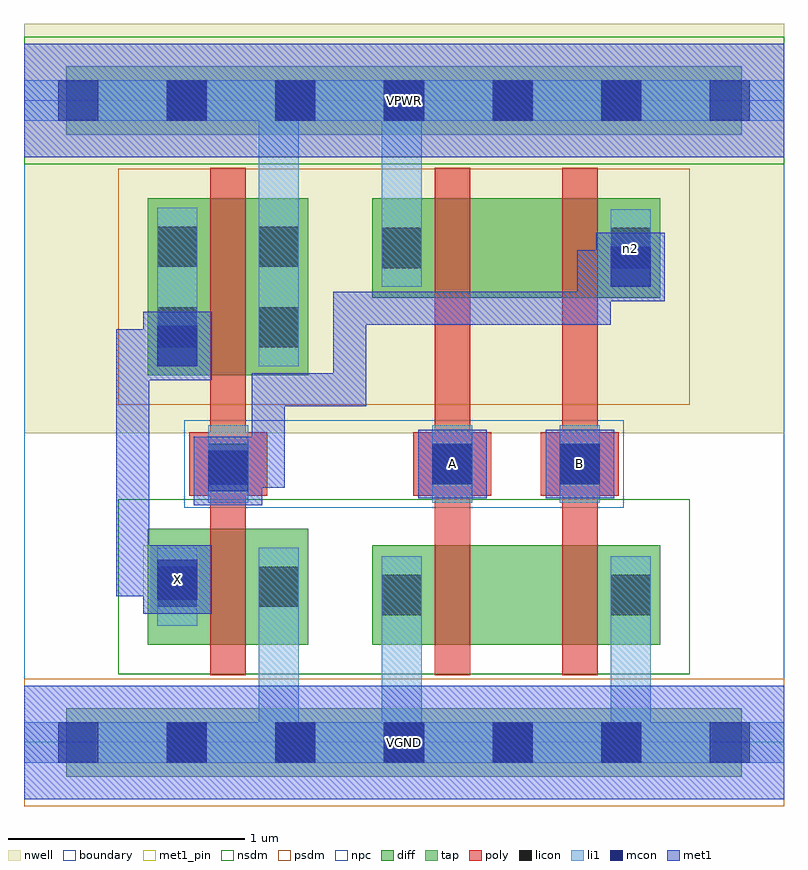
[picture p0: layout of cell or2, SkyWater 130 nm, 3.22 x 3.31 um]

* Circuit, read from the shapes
.subckt or2 A B VGND VPWR X n2
XM1 VGND n2 X VGND sky130_fd_pr__nfet_01v8 w=0.49 l=0.15
XM2 n1 A VGND VGND sky130_fd_pr__nfet_01v8 w=0.42 l=0.15
XM3 VGND B n1 VGND sky130_fd_pr__nfet_01v8 w=0.42 l=0.15
XM4 VPWR n2 X VPWR sky130_fd_pr__pfet_01v8 w=0.75 l=0.15
XM5 n3 A VPWR VPWR sky130_fd_pr__pfet_01v8 w=0.42 l=0.15
XM6 n2 B n3 VPWR sky130_fd_pr__pfet_01v8 w=0.42 l=0.15
.ends

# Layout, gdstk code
import gdstk
lib = gdstk.Library(unit=1e-6, precision=1e-09)
def R(c, l, rs):  # rectangles x0, y0, x1, y1
    for r in rs: c.add(gdstk.rectangle(r[:2], r[2:], *l))
def A(c, l, x, y, w, h, nx, ny, dx, dy):  # array of equal rectangles
    R(c, l, [(x+i*dx, y+j*dy, x+i*dx+w, y+j*dy+h) for i in range(nx) for j in range(ny)])
nwell = (64, 20)
diff = (65, 20)
tap = (65, 44)
poly = (66, 20)
licon = (66, 44)
li1 = (67, 20)
mcon = (67, 44)
met1_pin = (68, 16)
met1 = (68, 20)
nsdm = (93, 44)
psdm = (94, 20)
npc = (95, 20)
boundary = (235, 4)

or2 = lib.new_cell('or2')
R(or2, nwell, [(0,1.31,3.22,3.045)])
R(or2, diff, [(0.525,0.415,1.205,0.905), (1.475,0.415,2.695,0.835), (0.525,1.555,1.205,2.305), (1.475,1.885,2.695,2.305)])
R(or2, tap, [(0.18,-0.145,3.04,0.145), (0.18,2.575,3.04,2.865)])
R(or2, poly, [(0.79,0.285,0.94,2.435), (1.74,0.285,1.89,2.435), (2.28,0.285,2.43,2.435), (0.7,1.045,1.03,1.315), (1.65,1.045,1.98,1.315), (2.19,1.045,2.52,1.315)])
A(or2, licon, 0.605, -0.085, 0.17, 0.17, 5, 2, 0.46, 2.72)
R(or2, licon, [(1.515,0.54,1.685,0.71), (2.485,0.54,2.655,0.71), (0.565,0.575,0.735,0.745), (0.995,0.575,1.165,0.745), (0.78,1.095,0.95,1.265), (1.73,1.095,1.9,1.265), (2.27,1.095,2.44,1.265), (0.565,1.675,0.735,1.845), (0.995,1.675,1.165,1.845), (1.515,2.01,1.685,2.18), (2.485,2.01,2.655,2.18), (0.565,2.015,0.735,2.185), (0.995,2.015,1.165,2.185)])
R(or2, li1, [(0,-0.085,3.22,0.085), (0.995,-0.085,1.165,0.825), (1.515,-0.085,1.685,0.79), (2.485,-0.085,2.655,0.79), (1.515,0.46,1.685,0.79), (2.485,0.46,2.655,0.79), (0.565,0.495,0.735,0.825), (0.995,0.495,1.165,0.825), (0.78,1.015,0.95,1.345), (1.73,1.015,1.9,1.345), (2.27,1.015,2.44,1.345), (0.565,1.595,0.735,2.265), (0.995,1.595,1.165,2.265), (0.995,1.595,1.165,2.805), (1.515,1.93,1.685,2.26), (1.515,1.93,1.685,2.805), (2.485,1.93,2.655,2.26), (0,2.635,3.22,2.805)])
A(or2, mcon, 0.145, -0.085, 0.17, 0.17, 7, 2, 0.46, 2.72)
R(or2, mcon, [(0.565,0.605,0.735,0.775), (0.78,1.065,0.95,1.235), (1.73,1.095,1.9,1.265), (2.27,1.095,2.44,1.265), (0.565,1.595,0.735,1.765), (2.485,1.93,2.655,2.1)])
R(or2, met1_pin, [(0,-0.24,3.22,0.24), (0.505,0.545,0.795,0.835), (1.67,1.035,1.96,1.325), (2.21,1.035,2.5,1.325), (0,2.48,3.22,2.96)])
R(or2, met1, [(0,-0.24,3.22,0.24), (0.505,0.545,0.795,0.835), (0.39,0.62,0.72,0.76), (0.39,0.62,0.53,1.565), (0.72,1.005,1.01,1.295), (1.67,1.035,1.96,1.325), (2.21,1.035,2.5,1.325), (0.795,1.08,1.105,1.22), (0.965,1.08,1.105,1.565), (0.39,1.425,0.53,1.75), (0.965,1.425,1.45,1.565), (1.31,1.425,1.45,1.91), (0.505,1.535,0.795,1.825), (0.39,1.61,0.72,1.75), (1.31,1.77,2.485,1.91), (2.345,1.77,2.485,2.085), (2.425,1.87,2.715,2.16), (2.345,1.945,2.64,2.085), (0,2.48,3.22,2.96)])
R(or2, nsdm, [(0.4,0.29,2.82,1.03), (0,2.45,3.22,2.99)])
R(or2, psdm, [(0,-0.27,3.22,0.27), (0.4,1.43,2.82,2.43)])
R(or2, npc, [(0.68,0.995,2.54,1.365)])
R(or2, boundary, [(0,0,3.22,2.72)])
or2.add(gdstk.Label('n2', (2.57,2.095), layer=67, texttype=5))
or2.add(gdstk.Label('A', (1.815,1.18), layer=68, texttype=5))
or2.add(gdstk.Label('B', (2.355,1.18), layer=68, texttype=5))
or2.add(gdstk.Label('X', (0.65,0.69), layer=68, texttype=5))
or2.add(gdstk.Label('VPWR', (1.61,2.72), layer=68, texttype=5))
or2.add(gdstk.Label('VGND', (1.61,0), layer=68, texttype=5))
or2.add(gdstk.Label('A', (1.815,1.18), layer=68, texttype=16))
or2.add(gdstk.Label('B', (2.355,1.18), layer=68, texttype=16))
or2.add(gdstk.Label('X', (0.65,0.69), layer=68, texttype=16))
or2.add(gdstk.Label('VPWR', (1.61,2.72), layer=68, texttype=16))
or2.add(gdstk.Label('VGND', (1.61,0), layer=68, texttype=16))

lib.write_gds('or2.gds')
